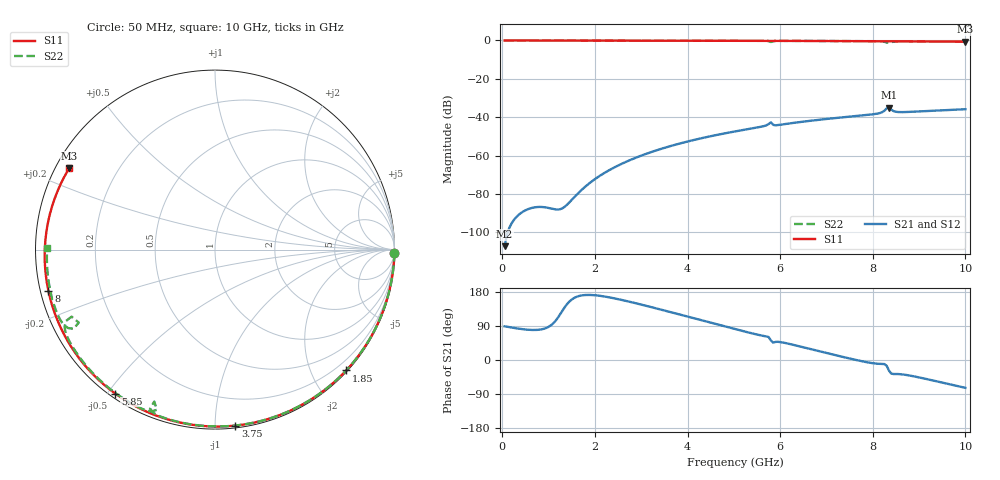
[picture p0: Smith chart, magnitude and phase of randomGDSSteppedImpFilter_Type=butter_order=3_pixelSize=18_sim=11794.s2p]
! freq	dB(S11)	phase(S11)	dB(S12)	phase(S12)
!  dB(S21)	phase(S21)	dB(S22)	phase(S22)
!S-par simulation data
#  GHz  S  DB  R 50
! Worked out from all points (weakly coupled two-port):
!   200 points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, 50 MHz to 10 GHz, reference 50 ohm
!   highest |S21| = -34.97 dB at 8.35 GHz (marker M1); lowest = -107.2 dB at 50 MHz (marker M2)
!   lowest |S11| = -0.6 dB at 10 GHz (marker M3), VSWR 27.77, Z = 1.92 + j12.9 ohm
!   |S11| at or under -10 dB: nowhere
!   |S22| runs from -1.3 to 0.0 dB; largest |S21 - S12| = 0
!   S11 on the Smith chart (normalised r, x): 50 MHz: 0, -97; 1.85 GHz: 0.02, -2.56; 3.75 GHz: 0.01, -1.12; 5.85 GHz: 0.02, -0.52; 8 GHz: 0.02, -0.12; 10 GHz: 0.04, +0.26
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0.05  -0.00 -1.2  -107.24 88.9  -107.24 88.9  -0.00 -1.1
0.8  -0.02 -18.7  -86.78 80.0  -86.78 80.0  -0.02 -16.8
1.6  -0.05 -37.0  -80.57 166.5  -80.57 166.5  -0.04 -33.3
1.75  -0.05 -40.4  -77.09 171.0  -77.09 171.0  -0.05 -36.3
1.85  -0.05 -42.6  -75.03 171.7  -75.03 171.7  -0.05 -38.4
2.15  -0.06 -49.3  -69.88 168.6  -69.88 168.6  -0.06 -44.4
2.5  -0.07 -57.0  -65.20 160.6  -65.20 160.6  -0.07 -51.3
3.4  -0.10 -76.1  -56.73 133.8  -56.73 133.8  -0.09 -68.6
3.75  -0.11 -83.4  -54.26 122.7  -54.26 122.7  -0.10 -75.1
5.05  -0.17 -109.3  -47.31 80.9  -47.31 80.9  -0.15 -98.5
5.65  -0.20 -120.9  -44.64 63.3  -44.64 63.3  -0.21 -109.5
5.8  -0.21 -123.8  -42.70 51.6  -42.70 51.6  -0.80 -111.8
5.85  -0.21 -124.7  -44.00 45.8  -44.00 45.8  -0.45 -109.9
6.7  -0.27 -140.9  -41.74 27.6  -41.74 27.6  -0.24 -126.0
8  -0.39 -166.2  -38.50 -8.5  -38.50 -8.5  -0.38 -148.3
8.25  -0.42 -171.2  -36.66 -10.7  -36.66 -10.7  -0.70 -154.4
8.3  -0.42 -172.2  -35.42 -15.2  -35.42 -15.2  -1.09 -154.9
8.35  -0.42 -173.2  -34.97 -28.1  -34.97 -28.1  -1.30 -151.8
8.45  -0.43 -175.2  -36.82 -37.0  -36.82 -37.0  -0.65 -151.9
8.6  -0.45 -178.3  -37.36 -37.5  -37.36 -37.5  -0.48 -155.6
9.3  -0.54 166.8  -36.59 -54.0  -36.59 -54.0  -0.50 -168.3
10  -0.63 150.9  -35.84 -73.5  -35.84 -73.5  -0.58 179.3
